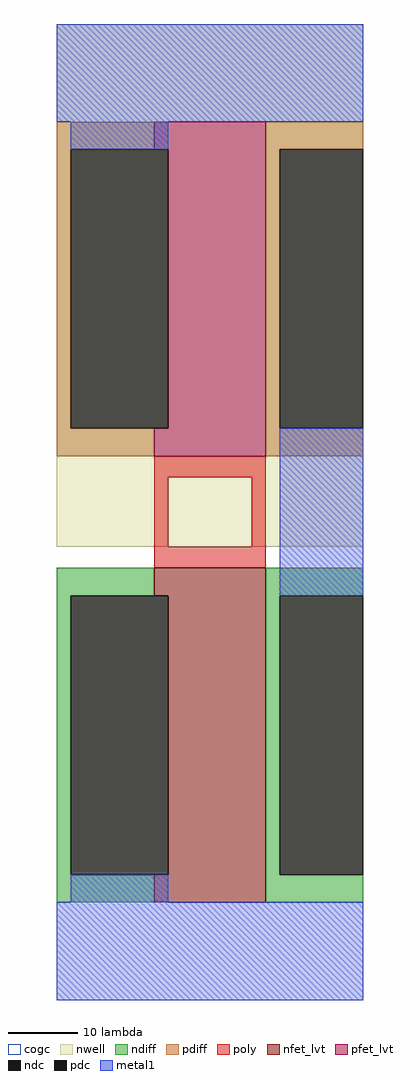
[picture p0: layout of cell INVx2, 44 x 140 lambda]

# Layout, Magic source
magic
tech asap5
<< nwell >>
rect 0 65 44 140
<< poly >>
rect 14 75 30 78
rect 14 65 16 75
rect 28 65 30 75
rect 14 62 30 65
<< ndiff >>
rect 0 58 14 62
rect 30 58 44 62
rect 0 18 2 58
rect 30 18 32 58
rect 0 14 14 18
rect 30 14 44 18
<< pdiff >>
rect 0 122 14 126
rect 30 122 44 126
rect 0 82 2 122
rect 30 82 32 122
rect 0 78 14 82
rect 30 78 44 82
<< nfet_lvt >>
rect 14 58 30 62
rect 16 18 30 58
rect 14 14 30 18
<< pfet_lvt >>
rect 14 122 30 126
rect 16 82 30 122
rect 14 78 30 82
<< metal1 >>
rect 0 126 44 140
rect 2 122 16 126
rect 32 58 44 82
rect 2 14 16 18
rect 0 0 44 14
<< cogc >>
rect 16 65 28 75
<< ndc >>
rect 2 18 16 58
rect 32 18 44 58
<< pdc >>
rect 2 82 16 122
rect 32 82 44 122
<< end >>
